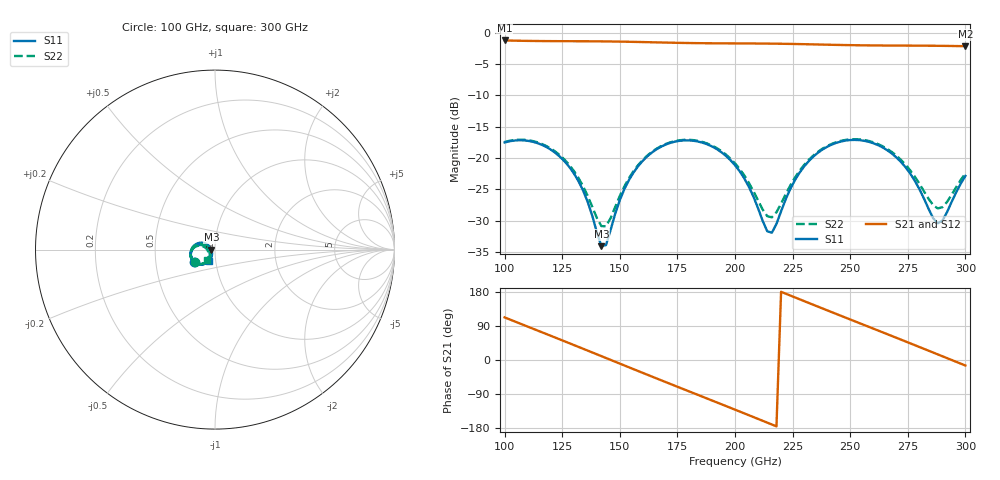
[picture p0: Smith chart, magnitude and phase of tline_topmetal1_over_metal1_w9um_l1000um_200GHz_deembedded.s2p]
! Created with skrf 2.2.0 (http://scikit-rf.org).
# GHz S DB R 50.0
! Port[1] = P1
! Port[2] = P2
!freq dBS11 angS11 dBS21 angS21 dBS12 angS12 dBS22 angS22
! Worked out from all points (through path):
!   101 points, 100 GHz to 300 GHz, reference 50 ohm
!   highest |S21| = -1.24 dB at 100 GHz (marker M1); lowest = -2.2 dB at 300 GHz (marker M2)
!   group delay of S21, straight-line fit = 6.76 ps
!   lowest |S11| = -34.1 dB at 142 GHz (marker M3), VSWR 1.04, Z = 48.1 - j0.0701 ohm
!   |S11| at or under -10 dB: start of sweep to end of sweep
!   |S22| runs from -30.9 to -17.0 dB; largest |S21 - S12| = 9.5e-14
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100  -17.51 -149.6  -1.24 112.4  -1.24 112.4  -17.43 -148.2
108  -17.17 -167.0  -1.29 93.0  -1.29 93.0  -17.07 -164.8
116  -17.86 175.9  -1.33 73.7  -1.33 73.7  -17.72 179.0
126  -20.51 156.4  -1.35 49.4  -1.35 49.4  -20.25 161.3
134  -25.12 146.4  -1.36 29.9  -1.36 29.9  -24.45 154.5
142  -34.05 -177.9  -1.38 10.2  -1.38 10.2  -30.85 -174.0
144  -33.88 -147.6  -1.39 5.3  -1.39 5.3  -30.88 -154.3
154  -23.48 -116.4  -1.45 -19.4  -1.45 -19.4  -23.18 -122.2
168  -18.17 -140.1  -1.56 -53.6  -1.56 -53.6  -18.08 -141.7
184  -17.36 -172.6  -1.67 -92.3  -1.67 -92.3  -17.26 -171.8
200  -21.13 158.6  -1.71 -131.0  -1.71 -131.0  -20.83 162.5
206  -24.56 153.7  -1.72 -145.7  -1.72 -145.7  -23.93 159.7
214  -31.67 -175.8  -1.74 -165.3  -1.74 -165.3  -29.27 -172.9
216  -31.91 -153.6  -1.75 -170.2  -1.75 -170.2  -29.45 -157.1
226  -23.52 -118.0  -1.80 165.3  -1.80 165.3  -23.12 -124.0
234  -19.76 -127.5  -1.86 145.7  -1.86 145.7  -19.59 -130.9
244  -17.56 -145.5  -1.94 121.4  -1.94 121.4  -17.46 -147.0
252  -17.10 -160.9  -2.00 102.1  -2.00 102.1  -16.99 -161.3
268  -19.25 170.1  -2.05 63.6  -2.05 63.6  -19.01 172.2
276  -22.44 160.5  -2.06 44.1  -2.06 44.1  -21.94 164.7
288  -30.40 -163.0  -2.09 14.8  -2.09 14.8  -28.03 -164.2
300  -22.85 -119.7  -2.16 -14.6  -2.16 -14.6  -22.43 -126.9
